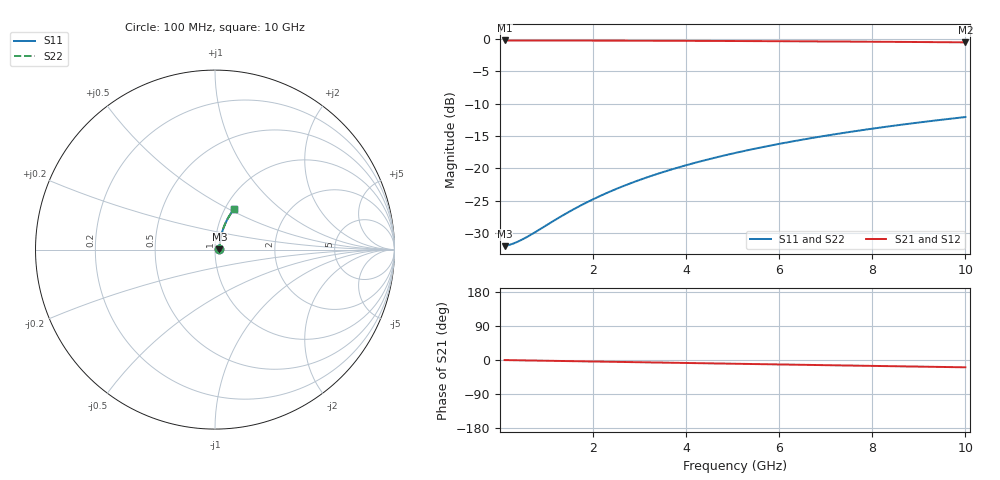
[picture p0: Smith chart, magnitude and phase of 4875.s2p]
# Hz S RI R 50.00
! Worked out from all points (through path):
!   100 points, 100 MHz to 10 GHz, reference 50 ohm
!   highest |S21| = -0.22 dB at 100 MHz (marker M1); lowest = -0.5 dB at 10 GHz (marker M2)
!   group delay of S21, straight-line fit = 5.37 ps
!   lowest |S11| = -32.0 dB at 100 MHz (marker M3), VSWR 1.05, Z = 52.5 + j0.262 ohm
!   |S11| at or under -10 dB: start of sweep to end of sweep
!   |S22| runs from -32.0 to -12.1 dB; largest |S21 - S12| = 0
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1e8  0.0249 0.00249  0.9751 -0.00335  0.9751 -0.00335  0.0249 0.00249
2e8  0.0251 0.00498  0.9749 -0.0067  0.9749 -0.0067  0.0251 0.00498
3e8  0.0252 0.00747  0.9748 -0.01  0.9748 -0.01  0.0252 0.00747
4e8  0.0254 0.00996  0.9746 -0.0134  0.9746 -0.0134  0.0254 0.00996
5e8  0.0255 0.0124  0.9745 -0.0167  0.9745 -0.0167  0.0255 0.0124
7e8  0.0259 0.0174  0.9741 -0.0234  0.9741 -0.0234  0.0259 0.0174
1.4e9  0.0274 0.0348  0.9725 -0.0468  0.9725 -0.0468  0.0274 0.0348
1.8e9  0.0287 0.0446  0.9712 -0.0601  0.9712 -0.0601  0.0287 0.0446
2.2e9  0.0301 0.0544  0.9697 -0.0733  0.9697 -0.0733  0.0301 0.0544
2.6e9  0.0319 0.0642  0.9678 -0.0865  0.9678 -0.0865  0.0319 0.0642
3e9  0.0339 0.0739  0.9658 -0.0996  0.9658 -0.0996  0.0339 0.0739
3.4e9  0.0361 0.0835  0.9634 -0.1127  0.9634 -0.1127  0.0361 0.0835
3.8e9  0.0386 0.0931  0.9608 -0.1257  0.9608 -0.1257  0.0386 0.0931
4.2e9  0.0413 0.1025  0.958 -0.1386  0.958 -0.1386  0.0413 0.1025
4.6e9  0.0443 0.1119  0.9548 -0.1514  0.9548 -0.1514  0.0443 0.1119
5.1e9  0.0484 0.1234  0.9506 -0.1673  0.9506 -0.1673  0.0484 0.1234
5.9e9  0.0557 0.1416  0.9429 -0.1923  0.9429 -0.1923  0.0557 0.1416
6.7e9  0.0639 0.1592  0.9343 -0.2168  0.9343 -0.2168  0.0639 0.1592
7.5e9  0.073 0.1762  0.9248 -0.2408  0.9248 -0.2408  0.073 0.1762
8.4e9  0.0842 0.1946  0.9131 -0.267  0.9131 -0.267  0.0842 0.1946
9.2e9  0.095 0.2103  0.9017 -0.2896  0.9017 -0.2896  0.095 0.2103
1e10  0.1065 0.2253  0.8896 -0.3116  0.8896 -0.3116  0.1065 0.2253
